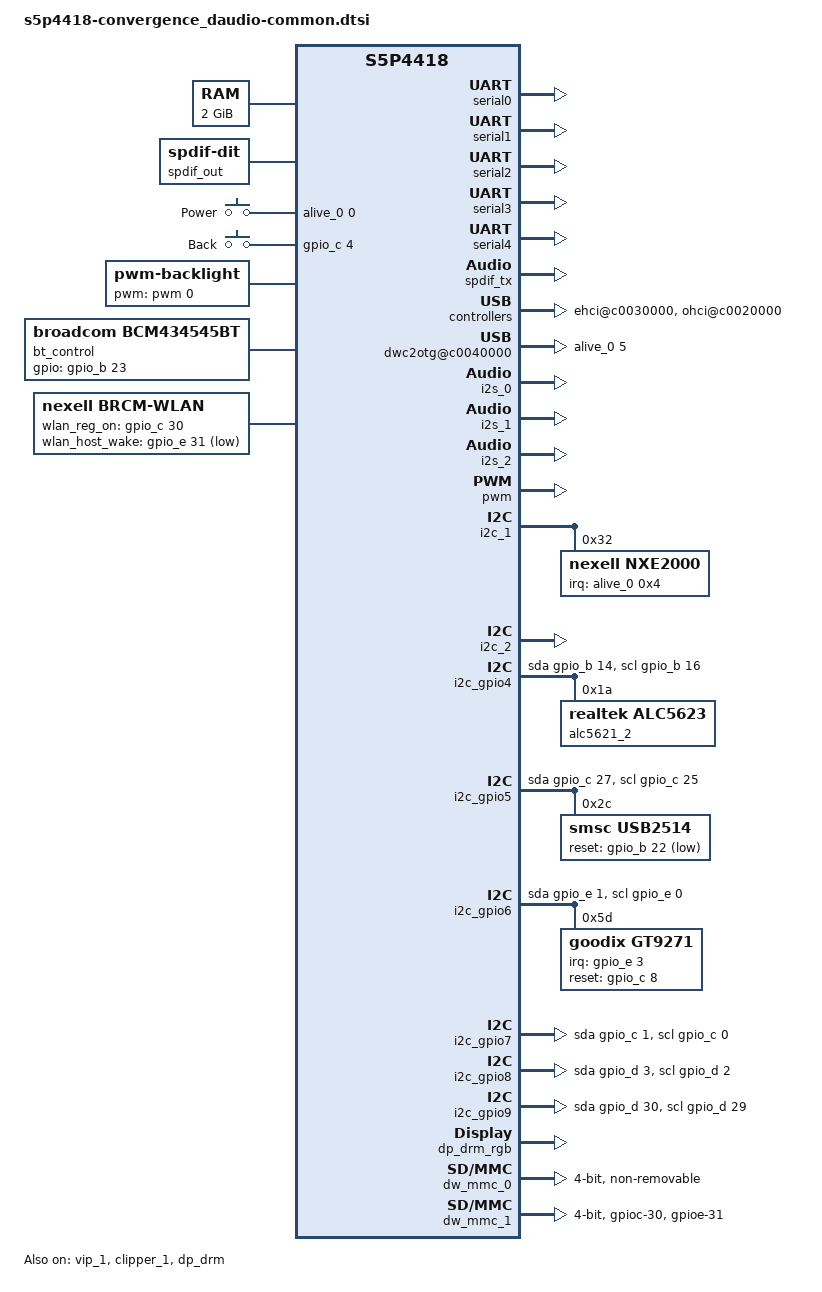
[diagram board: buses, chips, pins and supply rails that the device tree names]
/*
 * Copyright (C) 2018  Nexell Co., Ltd.
 * Author: Jongshin, Park <pjsin865@nexell.co.kr>
 *
 * This program is free software; you can redistribute it and/or
 * modify it under the terms of the GNU General Public License
 * as published by the Free Software Foundation; either version 2
 * of the License, or (at your option) any later version.
 *
 * This program is distributed in the hope that it will be useful,
 * but WITHOUT ANY WARRANTY; without even the implied warranty of
 * MERCHANTABILITY or FITNESS FOR A PARTICULAR PURPOSE.  See the
 * GNU General Public License for more details.
 *
 * You should have received a copy of the GNU General Public License
 * along with this program.  If not, see <http://www.gnu.org/licenses/>.
 */

#include <dt-bindings/interrupt-controller/irq.h>
#include <dt-bindings/gpio/gpio.h>
#include <dt-bindings/input/input.h>
#include "nxp4330.dtsi"
#include "s5p4418-audio-dfs-pll3.dtsi"

/ {
	memory {
		device_type = "memory";
		reg = <0x40000000 0x80000000>;
	};

	psci {
		compatible = "arm,psci-0.2";
		method = "smc";
	};

	aliases {
		/* i2c3 = &i2c_gpio3; */
		i2c4 = &i2c_gpio4;
		i2c5 = &i2c_gpio5;
		i2c6 = &i2c_gpio6;
		i2c7 = &i2c_gpio7;
		i2c8 = &i2c_gpio8;
		i2c9 = &i2c_gpio9;
		/* i2c10 = &i2c_gpio10; */
	};

	nx-v4l2 {
		status = "okay";
	};

	soc {
		#include "s5p4418-pinctrl.dtsi"
		clocks {
			uart1:uart@c00a8000 { clock-frequency = <100000000>; };
			uart3:uart@c00ab000 { clock-frequency = <147500000>; };

			vip0:vip@c00c1000 { clock-frequency = <300000000>; };
			vip1:vip@c00c2000 { src-force = <5>; };

			pwm0:pwm0@c00ba000 {
				clk-input = <I_PLL2>;
				clock-frequency = <10000000>;
			};

			pwm3:pwm3@c00be000 {
				clk-input = <I_PLL2>;
				clock-frequency = <10000000>;
			};

			spi2:spi@c00a7000  { clock-frequency = <20000000>; };

			i2s0:i2s@c00b2000 {
				clk-input = <I_PLL2>;
			};

			i2s1:i2s@c00b3000 {
				clk-input = <I_PLL3>;
			};

			i2s2:i2s@c00b4000 {
				clk-input = <I_EXTCLK1>;
			};
		};

		l2:l2-cache-controller@cf000000 {
			arm,prefetch-offset = <7>;
			prefetch-data = <1>;
			prefetch-instr = <1>;
			arm,tag-latency = <3 4 3>;
			arm,data-latency = <3 4 3>;
		};

		serial0:serial@c00a1000 {
			dmas = <&pl08xdma0 2 0>, <&pl08xdma0 3 0>;
			dma-names = "tx", "rx";
			status ="okay";
		};

		serial1:serial@c00a0000 {
			dmas = <&pl08xdma0 0 0>, <&pl08xdma0 1 0>;
			dma-names = "tx", "rx";
			pinctrl-0 = <&serial1_pin>, <&serial1_flow_cts>,
			    <&serial1_flow_rts>;
			status ="okay";
		};

		serial2:serial@c00a2000 {
			dmas = <&pl08xdma0 4 0>, <&pl08xdma0 5 0>;
			dma-names = "tx", "rx";
			status ="okay";
		};

		serial3:serial@c00a3000 {
			status ="okay";
		};

		serial4:serial@c006d000 {
			status ="okay";
		};

		amba {
			pl08xdma0:pl08xdma@c0000000 {
				use_isr;

				ch12 {
					/* slave_wait_flush_dma; */
				};

				ch13 {
					/* slave_wait_flush_dma; */
				};

				ch14 {
					/* slave_wait_flush_dma; */
				};

				ch15 {
					/* slave_wait_flush_dma; */
				};
			};

			pl08xdma1:pl08xdma@c0001000 {
				use_isr;

				ch0 {
					/* slave_wait_flush_dma; */
				};

				ch1 {
					/* slave_wait_flush_dma; */
				};
			};
		};

		spdif_tx: spdiftx@c0059000 {
			#sound-dai-cells = <1>;
			pcm-bit = <16>;
			sample_rate = <48000>;
			status = "okay";
		};

		watchdog@c0019000 {
			status = "okay";
		};

		rtc@c0010c00 {
			status = "okay";
		};

		nexell_usbphy: nexell-usbphy@c0012000 {
			status = "okay";
		};

		ehci@c0030000 {
			status = "okay";
			port@0 {
				status = "okay";
			};
		};

		ohci@c0020000 {
			status = "okay";
			port@0 {
				status = "okay";
			};
		};

		dwc2otg@c0040000 {
			gpios = <&alive_0 5 0>;
			nouse_idcon = <1>;
			status = "okay";
		};

		i2s_0:i2s@c0055000 {
			/*dfs;
			dfs-pll = <3>;*/
			#sound-dai-cells = <1>;
			master-mode = <1>;
			mclk-in = <0>;
			trans-mode = <0>;
			frame-bit = <32>;
			sample-rate = <48000>;
			pre-supply-mclk = <1>;
			status = "okay";
		};

		i2s_1:i2s@c0056000 {
			dfs;
			dfs-pll = <3>;
			#sound-dai-cells = <1>;
			master-mode = <1>;
			mclk-in = <0>;
			trans-mode = <0>;
			frame-bit = <32>;
			sample-rate = <48000>;
			pre-supply-mclk = <1>;
			status = "okay";
		};

		i2s_2:i2s@c0057000 {
			#sound-dai-cells = <1>;
			master-mode = <0>;
			mclk-in = <1>;
			trans-mode = <0>;
			frame-bit = <32>;
			sample-rate = <16000>;
			pre-supply-mclk = <0>;
			dfs;
			status = "okay";
		};

		pwm:pwm@c0018000 {
			clock-names = "timers", "pwm-tclk0", "pwm-tclk3";
			clocks =  <&pclk>, <&pwm0>, <&pwm3>;
			pinctrl-names = "default";
			pinctrl-0 = <&pwm0_pin &pwm3_pin>;
			samsung,pwm-outputs = <0>, <3>;
			status = "okay";
		};

		pinctrl@C0010000 {
			key_power:key_power {
				nexell,pins = "alive-0";
				nexell,pin-function = <0>;
				nexell,pin-pull = <1>;
				nexell,pin-strength = <0>;
			};

			key_back:key_back {
				nexell,pins = "gpioc-4";
				nexell,pin-function = <0>;
				nexell,pin-pull = <1>;
				nexell,pin-strength = <0>;
			};

			tp2825_reset:tp2825_reset {
				nexell,pins = "gpioc-2";
				nexell,pin-function = <1>;
				nexell,pin-pull = <2>;
				nexell,pin-strength = <0>;
			};

			/* MMC0 */
			sdmmc0_cclk: sdmmc0-cclk {
				nexell,pins = "gpioa-29";
				nexell,pin-function = <NX_PIN_FUNC1>;
				nexell,pin-pull = <NX_PIN_PULL_NONE>;
				nexell,pin-strength = <NX_PIN_STR2>;
			};

			sdmmc0_cmd: sdmmc0-cmd {
				nexell,pins = "gpioa-31";
				nexell,pin-function = <NX_PIN_FUNC1>;
				nexell,pin-pull = <NX_PIN_PULL_NONE>;
				nexell,pin-strength = <NX_PIN_STR2>;
			};

			sdmmc0_bus4: sdmmc0-bus-width4 {
				nexell,pins = "gpiob-1", "gpiob-3", "gpiob-5", "gpiob-7";
				nexell,pin-function = <NX_PIN_FUNC1>;
				nexell,pin-pull = <NX_PIN_PULL_NONE>;
				nexell,pin-strength = <NX_PIN_STR2>;
			};

			/* backgear:backgear {
				nexell,pins = "gpioc-4";
				nexell,pin-function = <1>;
				nexell,pin-pull = <2>;
				nexell,pin-strength = <0>;
			};
			*/

			bt_cfg_en:bt_cfg_en {
				nexell,pins = "gpiob-23";
				nexell,pin-function = <1>;
				nexell,pin-pull = <2>;
				nexell,pin-strength = <0>;
			};

			cfg_wlanen: cfg-wlanen {
				nexell,pins ="gpioc-30";
				nexell,pin-function = <0>;
				nexell,pin-pull = <2>;
				nexell,pin-strength = <0>;
			};

			cfg_wlanhostwake: cfg-wlanhostwake {
				nexell,pins = "gpioe-31";
				nexell,pin-function = <1>;
				nexell,pin-pull = <1>;
				nexell,pin-strength = <0>;
			};

			i2s2_bus:i2s2 {
				/delete-node/ i2s2-mclk;
			};
		};

		i2c_1:i2c@c00a5000 {
			#address-cells = <1>;
			#size-cells = <0>;
			status = "okay";
		};

		i2c_2:i2c@c00a6000 {
			#address-cells = <1>;
			#size-cells = <0>;
			status = "okay";
		};

		scaler@c0066000 {
			status = "okay";
		};
	};	/*** soc ***/

	/* for 2nd_audio_codec */
	/*
	i2c_gpio3: i2c@3 {
		compatible = "i2c-gpio";
		gpios = <&gpio_c 26 0
			&gpio_e 30 0>;
		i2c-gpio,delay-us = <1>;
		#address-cells = <1>;
		#size-cells = <0>;

		alc5621_1: alc5621_1@1a {
			#sound-dai-cells = <0>;
			compatible = "realtek,alc5623";
			reg = <0x1a>;
			add-ctrl = <0x3700>;
			jack-det-ctrl = <0x4810>;
			output-mixer-ctrl = <0xAF00>;
			alc56xx-id = <0x21>;
		};
	};
	*/

	i2c_gpio4: i2c@4 {
		compatible = "i2c-gpio";
		gpios = <&gpio_b 14 0 /* sda */
			&gpio_b 16 0 /* scl */>;
		i2c-gpio,delay-us = <1>;
		#address-cells = <1>;
		#size-cells = <0>;

		alc5621_2: alc5621_2@1a {
			#sound-dai-cells = <0>;
			compatible = "realtek,alc5623";
			reg = <0x1a>;
			add-ctrl = <0x3700>;
			jack-det-ctrl = <0x4810>;
			output-mixer-ctrl = <0xAF00>;
			alc56xx-id = <0x21>;
		};
	};

	i2c_gpio5: i2c@5 {
		compatible = "i2c-gpio";
		gpios = <&gpio_c 27 0 /* sda */
		    &gpio_c 25 0 /* scl */
		    >;
		i2c-gpio,delay-us = <5>;
		#address-cells = <1>;
		#size-cells = <0>;

		usb2514: usb2514@2c {
			compatible = "smsc,usb2514";
			reg = <0x2c>;
			reset-gpios = <&gpio_b 22 1>;
			initial-mode = <1>;
		};
	};

	i2c_gpio6: i2c@6 {
		compatible = "i2c-gpio";
		gpios = <&gpio_e 1 0 /* sda */
		    &gpio_e 0 0 /* scl */
		    >;
		i2c-gpio,delay-us = <5>;
		#address-cells = <1>;
		#size-cells = <0>;
	};

	i2c_gpio7: i2c@7 {
		compatible = "i2c-gpio";
		gpios = <&gpio_c 1 0 /* sda */
		    &gpio_c 0 0 /* scl */
		    >;
		i2c-gpio,delay-us = <5>;
		#address-cells = <1>;
		#size-cells = <0>;
	}; /* TVI : TP2825 */

	i2c_gpio8: i2c@8 {
		compatible = "i2c-gpio";
		gpios = <&gpio_d 3 0 /* sda */
		    &gpio_d 2 0 /* scl */
		    >;
		i2c-gpio,delay-us = <5>;
		#address-cells = <1>;
		#size-cells = <0>;
	}; /* TW9900 */

	i2c_gpio9: i2c@9 {
		compatible = "i2c-gpio";
		gpios = <&gpio_d 30 0 /* sda */
		    &gpio_d 29 0 /* scl */
		    >;
		i2c-gpio,delay-us = <5>;
		#address-cells = <1>;
		#size-cells = <0>;
	}; /* HDMI */

	/* i2c_gpio10: i2c@10 {
		compatible = "i2c-gpio";
		gpios = <&gpio_b 31 0
		    &gpio_b 30 0
		    >;
		i2c-gpio,delay-us = <5>;
		#address-cells = <1>;
		#size-cells = <0>;
	}; */ /* Apple CP Chip */

	snd_null: snd_null@10 {
		#sound-dai-cells = <0>;
		compatible = "nexell,snd-null";
		#address-cells = <1>;
		#size-cells = <0>;
		reg = <0 0>;
	};

	sound {
		compatible = "nexell,simple-audio-card";
		simple-audio-card,name = "s5p4418 Convergence Daudio Audio Main";
		simple-audio-card,mclk-fs = <256>;
		simple-audio-card,widgets =
			"Headphone", "Out Jack",
			"Microphone", "In Jack";
		simple-audio-card,routing =
			"Out Jack", "SPKOUT",
			"Out Jack", "SPKOUTN",
			"MIC1", "In Jack";
		status = "okay";

		simple-audio-card,dai-link@0 {
			format = "i2s";
			cpu {
				sound-dai = <&i2s_1 0>;
			};

			codec {
				sound-dai = <&alc5621_2>;
			};
		};

		simple-audio-card,dai-link@1 {
			format = "i2s";
			cpu {
				sound-dai = <&i2s_2 0>;
			};

			codec {
				sound-dai = <&snd_null>;
			};
		};
		/*
		simple-audio-card,dai-link@2 {
			format = "spdif";
			cpu {
				sound-dai = <&spdif_tx 0>;
			};

			codec {
				sound-dai = <&spdif_out>;
			};
		};
		*/
	};

	/*
	sound-sub {
		compatible = "nexell,simple-audio-card";
		simple-audio-card,name = "s5p4418 Convergence Car Audio Sub";
		simple-audio-card,mclk-fs = <256>;
		simple-audio-card,widgets =
			"Headphone", "Out Jack",
			"Microphone", "In Jack";
		simple-audio-card,routing =
			"Out Jack", "SPKOUT",
			"Out Jack", "SPKOUTN",
			"Out Jack", "AUXOUTL",
			"Out Jack", "AUXOUTR",
			"LINEINL", "In Jack",
			"LINEINR", "In Jack";
		status = "okay";

		simple-audio-card,dai-link@0 {
			format = "i2s";
			cpu {
			sound-dai = <&i2s_0 0>;
			};

			codec {
			sound-dai = <&alc5621_1>;
			};
		};
	};
	*/

	spdif_out: spdif-out {
		#sound-dai-cells = <0>;
		compatible = "linux,spdif-dit";
	};

	gpio_key: gpio_keys {
		compatible = "gpio-keys";
		#address-cells = <1>;
		#size-cells = <0>;
		pinctrl-names = "default";
		pinctrl-0 = <&key_power &key_back>;

		power {
			label = "Power";
			gpios = <&alive_0 0 0>;
			linux,code = <KEY_POWER>;
			gpio-key,wakeup;
		};

		back {
			label = "Back";
			gpios = <&gpio_c 4 0>;
			linux,code = <KEY_BACK>;
		};
	};

	nexell-ion@0 {
		compatible = "nexell,ion";

		heap_sys_user@0 {
			heap-type = "ion_system";
		};

		heap_sys_contig@0 {
			heap-type = "ion_system_contig";
		};

		heap_dma@0 {
			heap-type = "ion_dma";
		};
	};

	backlight: pwm-backlight {
		compatible = "pwm-backlight";
		pwm-names = "pwm-backlight";
		pwms = <&pwm 0 25000 0>;
		brightness-levels = <
			10 11 12 13 14 15 16 17 18 19
			20 21 22 23 24 25 26 27 28 29
			30 31 32 33 34 35 36 37 38 39
			40 41 42 43 44 45 46 47 48 49
			50 51 52 53 54 55 56 57 58 59
			60 61 62 63 64 65 66 67 68 69
			70 71 72 73 74 75 76 77 78 79
			80 81 82 83 84 85 86 87 88 89
			90 91 92 93 94 95 96 97 98 99
			100 101 102 103 104 105 106 107 108 109
			110 111 112 113 114 115 116 117 118 119
			120 121 122 123 124 125 126 127 128 129
			130 131 132 133 134 135 136 137 138 139
			140 141 142 143 144 145 146 147 148 149
			150 151 152 153 154 155 156 157 158 159
			160 161 162 163 164 165 166 167 168 169
			170 171 172 173 174 175 176 177 178 179
			180 181 182 183 184 185 186 187 188 189
			190 191 192 193 194 195 196 197 198 199
			200 201 202 203 204 205 206 207 208 209
			210 211 212 213 214 215 216 217 218 219
			220 221 222 223 224 225 226 227 228 229
			230 231 232 233 234 235 236 237 238 239
			240 241 242 243 244 245 246 247 248 249
			250 251 252 253 254 255
			>;
		default-brightness-level = <60>;
		status = "okay";
	};

	bt_control {
		compatible = "broadcom,bcm434545bt";
		gpios = <&gpio_b 23 0>;   /* GPIOB23 = BT_EN, output */
		pinctrl-names = "default";
		pinctrl-0 = <&bt_cfg_en>;
		status = "okay";
	};

	wlan {
		compatible = "nexell,brcm-wlan";
		wlan_reg_on = <&gpio_c 30 0>;
		wlan_host_wake = <&gpio_e 31 1>;
		status = "okay";
	};
};

/* for MAX9286 */
/*
&vip_0 {
	status = "okay";
};

&mipi_csi {
	data_lane = <4>;
	pllval = <750>;
	hssettle = <12>;
	interrupts = <IRQ_MIPI>;
	status = "okay";
};

&clipper_0 {
	interface_type = <NX_CAPTURE_INTERFACE_MIPI_CSI>;
	gpios = <&gpio_b 12 0 &gpio_c 13 0>;
	data_order = <NX_VIN_CBY0CRY1>;
	interlace = <0>;
	status = "okay";
	external_sync = <1>;
	h_frontporch = <7>;
	h_syncwidth = <0>;
	h_backporch = <7>;
	v_frontporch = <0>;
	v_syncwidth = <0>;
	v_backporch = <1>;

	sensor {
		type = <NX_CAPTURE_SENSOR_I2C>;
		i2c_name = "max9286";
		i2c_adapter = <2>;
		addr = <0x48>;
	};

	power {
		enable_seq = <
		NX_ACTION_START NX_ACTION_TYPE_GPIO 0 1 20 NX_ACTION_END
		NX_ACTION_START NX_ACTION_TYPE_GPIO 1 1 10 NX_ACTION_END
		>;

		disable_seq = <
		NX_ACTION_START NX_ACTION_TYPE_GPIO 1 0 2 NX_ACTION_END
		NX_ACTION_START NX_ACTION_TYPE_GPIO 0 0 15 NX_ACTION_END
		>;
	};
};
*/

/* for TP2825 */
/*
&vip_1 {
	status = "okay";
};

&clipper_1 {
	interface_type = <NX_CAPTURE_INTERFACE_PARALLEL>;
	pinctrl-names = "default";
	pinctrl-0 = <&vid2_data_clk &tp2825_reset>;
	gpios = <&gpio_c 2 0>;
	data_order = <NX_VIN_CBY0CRY1>;
	port = <1>;
	external_sync = <0>;
	interlace = <0>;
	status = "okay";

	sensor {
		type = <NX_CAPTURE_SENSOR_I2C>;
		i2c_name = "tp2825";
		i2c_adapter = <7>;
		addr = <0x45>;
	};

	power {
		enable_seq = <
			NX_ACTION_START NX_ACTION_TYPE_GPIO 0 1 1 NX_ACTION_END
		>;
	};
};
*/

/* for TW9900 */
&vip_1 {
	status = "okay";
};

&clipper_1 {
	interface_type = <NX_CAPTURE_INTERFACE_PARALLEL>;
	pinctrl-names = "default";
	pinctrl-0 = <&vid2_data_clk>;
	data_order = <NX_VIN_CBY0CRY1>;
	port = <1>;
	external_sync = <0>;
	interlace = <1>;
	status = "okay";

	sensor {
		type = <NX_CAPTURE_SENSOR_I2C>;
		i2c_name = "tw9900";
		i2c_adapter = <8>;
		addr = <0x44>;
	};
};

&dp_drm {
	status = "okay";
	ports {
		port@0 {
			reg = <0>;
			back_color = < 0x0 >;
			color_key = < 0x0 >;
			plane-names = "rgb", "primary", "video";
		};
		port@1 {
			reg = <1>;
			back_color = < 0x0 >;
			color_key = < 0x0 >;
			plane-names = "primary", "video";
		};
	};
};

&dp_drm_rgb {
	status = "ok";
	pinctrl-names = "default";
	pinctrl-0 = <&dp_rgb_vclk &dp_rgb_vsync &dp_rgb_hsync
	&dp_rgb_de &dp_rgb_R &dp_rgb_G &dp_rgb_B>;
	/* enable-gpios = <&gpio_c 2 0>; */
	/* remote-endpoint = <&rgb_panel>; */
	/* panel-mpu = <0>; */
	/* crtcs-possible-mask = <0x1>; */

	display-timing {
		clock-frequency = <88000000>;

		hactive = <1920>;
		vactive = <720>;

		hback-porch = <30>;
		hfront-porch = <30>;
		hsync-len = <4>;

		vback-porch = <10>;
		vfront-porch = <10>;
		vsync-len = <2>;

		hsync-active = <1>;
		vsync-active = <1>;
		pixelclk-active = <1>;
		de-active = <1>;
	};

	dp_control {
		clk_src_lv0 = <3>;
		clk_div_lv0 = <9>;
		clk_src_lv1 = <7>;
		clk_div_lv1 = <1>;
		out_format = <3>;
	};
};

/* for LVDS */
/*
&dp_drm_lvds {
	status = "ok";

	voltage_level = <0x3f>;

	display-timing {
		clock-frequency = <30000000>;
		hactive = <800>;
		vactive = <480>;

		hfront-porch = <40>;
		hback-porch = <88>;
		hsync-len = <48>;

		vfront-porch = <13>;
		vback-porch = <32>;
		vsync-len = <3>;

		hsync-active = <1>;
		vsync-active = <1>;
		pixelclk-active = <0>;
		de-active = <1>;
	};

	dp_control {
		clk_src_lv0 = <2>;
		clk_div_lv0 = <20>;
		clk_src_lv1 = <7>;
		clk_div_lv1 = <1>;
		out_format = <2>;
		swap_rb = <3>;
		invert_field = <1>;
		yc_order = <0>;
	};
};
*/

/* for HDMI */
/*
&dp_drm_hdmi {
	ddc-i2c-bus = <&i2c_gpio9>;
	skip-boot-connect;
	status = "ok";
};
*/

/* for eMMC */
&dw_mmc_0 {
	num-slots = <1>;
	bus-width = <4>;
	cap-mmc-highspeed;
	broken-cd;
	non-removable;
	clock-frequency = <100000000>;
	card-detect-delay = <200>;
	disable-wp;
	nexell,drive_dly = <0x00>;
	nexell,drive_shift = <0x03>;
	nexell,sample_dly = <0x00>;
	nexell,sample_shift = <0x02>;
	status = "okay";
};

/* for bt/wifi */
&dw_mmc_1 {
	num-slots = <1>;
	bus-width = <4>;
	cap-sd-highspeed;
	cd-type-external;
	broken-cd;
	pm-ignore-notify;
	keep-power-in-suspend;
	powered-resumed-nonremovable-card;
	cd-type = <2>;
	clock-frequency = <100000000>;
	nexell,drive_dly = <0x0>;
	nexell,drive_shift = <0x02>;
	nexell,sample_dly = <0x00>;
	nexell,sample_shift = <0x01>;

	pinctrl-names = "default";
	pinctrl-0 = <&sdmmc1_cclk &sdmmc1_cmd &sdmmc1_bus4
		&cfg_wlanen &cfg_wlanhostwake>;

	status = "okay";
};

/* for sdcard */
/*
&dw_mmc_1 {
	num-slots = <1>;
	bus-width = <4>;
	cap-sd-highspeed;
	clock-frequency = <100000000>;
	card-detect-delay = <200>;
	disable-wp;
	cd-gpios = <&gpio_e 31 0>;
	cd-inverted;
	nexell,drive_dly = <0x0>;
	nexell,drive_shift = <0x02>;
	nexell,sample_dly = <0x00>;
	nexell,sample_shift = <0x01>;
	status = "okay";
};
*/

/* for can */
/*
&spi_2 {
	status = "okay";
	cs-gpios = <&gpio_c 10 0>;
	can0: can@0 {
		compatible = "microchip,mcp2515";
		reg = <0>;
		clocks = <&spi2>;
		interrupt-parent = <&gpio_b>;
		interrupts = <24 IRQ_TYPE_EDGE_FALLING>;
		spi-max-frequency = <24000000>;

		controller-data {
			samsung,spi-feedback-delay = <0>;
		};
	};
};
*/

&i2c_gpio6 {
	compatible = "i2c-gpio";
	gpios=<&gpio_e 1 0	/* SDA */
	      &gpio_e 0 0>;	/* SCL */
	status = "okay";

	goodix@5d {
		compatible = "goodix,gt9271";
		reg = <0x5d>;
		interrupt-parent = <&gpio_e>;
		interrupts = <3 IRQ_TYPE_EDGE_FALLING>;
		irq-gpios = <&gpio_e 3 0>;
		reset-gpios = <&gpio_c 8 0>;
	};
};

#define PMIC_PDATA_INIT(_id, _rname, _minuv,	\
			_maxuv, _init_uv, _init_enable,		\
			_set_init_uV, _slp_slots)	\
		regulator-name = _rname;		\
		regulator-min-microvolt = <_minuv>;	\
		regulator-max-microvolt = <_maxuv>;	\
		nx,id = <_id>;				\
		nx,init_enable = <_init_enable>;	\
		nx,init_uV = <_init_uv>;		\
		nx,set_init_uV = <_set_init_uV>;	\
		nx,sleep_slots = <_slp_slots>;

&i2c_1 {
	nxe2000@32 {
		compatible = "nexell,nxe2000";
		reg = <0x32>;
		interrupt-parent = <&alive_0>;
		interrupts = <0x4 IRQ_TYPE_EDGE_FALLING>;

		regulators {
			VCC_DCDC0:
				dcdc1	{ PMIC_PDATA_INIT( 0,
					"nxe2000_dcdc1",
					900000, 1500000,
					1100000, 1, 0, 0x4)
					regulator-always-on;
					regulator-boot-on;};
			VCC_DCDC1:
				dcdc2	{ PMIC_PDATA_INIT( 1,
					"nxe2000_dcdc2",
					1000000, 1500000,
					1200000, 1, 0, 0x4)
					regulator-always-on;
					regulator-boot-on;};
			VCC_DCDC2:
				dcdc3	{ PMIC_PDATA_INIT( 2,
					"nxe2000_dcdc3",
					1000000, 3500000,
					3300000, 1, 1, 0x0)
					regulator-always-on;
					regulator-boot-on;};
			VCC_DCDC3:
				dcdc4	{ PMIC_PDATA_INIT( 3,
					"nxe2000_dcdc4",
					1000000, 2000000,
					1500000, 1, 0, 0xF)
					regulator-always-on;
					regulator-boot-on;};
			VCC_DCDC4:
				dcdc5	{ PMIC_PDATA_INIT( 4,
					"nxe2000_dcdc5",
					1000000, 2000000,
					1500000, 1, 0, 0x4)
					regulator-always-on;
					regulator-boot-on;};
			VCC_LDO0:
				ldo1	{ PMIC_PDATA_INIT( 5,
					"nxe2000_ldo1",
					1000000, 3500000,
					3300000, 0, 1, 0x0)
					regulator-boot-on;};
			VCC_LDO1:
				ldo2	{ PMIC_PDATA_INIT( 6,
					"nxe2000_ldo2",
					1000000, 3500000,
					3300000, 0, 1, 0x0)
					regulator-boot-on;};
			VCC_LDO2:
				ldo3	{ PMIC_PDATA_INIT( 7,
					"nxe2000_ldo3",
					1000000, 3500000,
					1800000, 1, 1, 0x2)
					regulator-always-on;
					regulator-boot-on;};
			VCC_LDO3:
				ldo4	{ PMIC_PDATA_INIT( 8,
					"nxe2000_ldo4",
					1000000, 3500000,
					1800000, 1, 1, 0x2)
					regulator-always-on;
					regulator-boot-on;};
			VCC_LDO4:
				ldo5	{ PMIC_PDATA_INIT( 9,
					"nxe2000_ldo5",
					1000000, 3500000,
					3300000, 0, 1, 0x0)
					regulator-boot-on;};
			VCC_LDO5:
				ldo6	{ PMIC_PDATA_INIT(10,
					"nxe2000_ldo6",
					1000000, 3500000,
					3300000, 1, 1, 0xF)
					regulator-always-on;
					regulator-boot-on;};
			VCC_LDO6:
				ldo7	{ PMIC_PDATA_INIT(11,
					"nxe2000_ldo7",
					1000000, 3500000,
					3300000, 1, 1, 0x1)
					regulator-always-on;
					regulator-boot-on;};
			VCC_LDO7:
				ldo8	{ PMIC_PDATA_INIT(12,
					"nxe2000_ldo8",
					1000000, 3500000,
					3300000, 0, 1, 0x0)
					regulator-boot-on;};
			VCC_LDO8:
				ldo9	{ PMIC_PDATA_INIT(13,
					"nxe2000_ldo9",
					1000000, 3500000,
					1800000, 0, 1, 0x0)
					regulator-boot-on;};
			VCC_LDO9:
				ldo10	{ PMIC_PDATA_INIT(14,
					"nxe2000_ldo10",
					1000000, 3500000,
					1000000, 1, 1, 0x0)
					regulator-always-on;
					regulator-boot-on;};
			VCC_RTC0:
				ldortc1	{ PMIC_PDATA_INIT(15,
					"nxe2000_rtc1",
					1700000, 3500000,
					1800000, 1, 1, 0xF)
					regulator-always-on;
					regulator-boot-on;};
			VCC_RTC1:
				ldortc2	{ PMIC_PDATA_INIT(16,
					"nxe2000_rtc2",
					1000000, 3500000,
					1000000, 1, 1, 0xF)
					regulator-always-on;
					regulator-boot-on;};
		}; /* regulators */
	}; /* nxe2000@32 */
}; /* i2c_1 */
